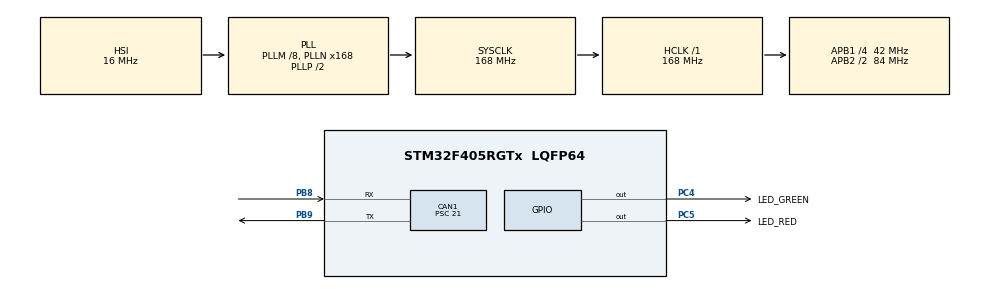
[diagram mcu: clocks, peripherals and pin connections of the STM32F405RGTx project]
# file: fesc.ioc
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CAN1.ABOM=ENABLE
CAN1.BS1=CAN_BS1_13TQ
CAN1.BS2=CAN_BS2_2TQ
CAN1.CalculateBaudRate=125000
CAN1.CalculateTimeBit=8000
CAN1.CalculateTimeQuantum=500.0
CAN1.NART=ENABLE
CAN1.Prescaler=21
FREERTOS.Tasks01=defaultTask,24,256,StartDefaultTask,Default,NULL,Dynamic,NULL,NULL;ledTask,8,128,startLedTask,Default,NULL,Static,ledTaskBuffer,ledTaskControlBlock
FREERTOS.configUSE_NEWLIB_REENTRANT=1
Mcu.Family=STM32F4
Mcu.Name=STM32F405RGTx
Mcu.Package=LQFP64
NVIC.CAN1_RX0_IRQn=true\:5\:0\:false\:false\:true\:true\:true\:true\:true
NVIC.CAN1_RX1_IRQn=true\:5\:0\:false\:false\:true\:true\:true\:true\:true
NVIC.CAN1_SCE_IRQn=true\:5\:0\:false\:false\:true\:true\:true\:true\:true
NVIC.CAN1_TX_IRQn=true\:5\:0\:false\:false\:true\:true\:true\:true\:true
NVIC.PriorityGroup=NVIC_PRIORITYGROUP_4
NVIC.TIM6_DAC_IRQn=true\:5\:0\:false\:false\:true\:true\:true\:true\:true
NVIC.TIM7_IRQn=true\:15\:0\:false\:false\:true\:false\:false\:true\:true
NVIC.TimeBase=TIM7_IRQn
NVIC.TimeBaseIP=TIM7
PA13.Mode=Serial_Wire
PA13.Signal=SYS_JTMS-SWDIO
PA14.Mode=Serial_Wire
PA14.Signal=SYS_JTCK-SWCLK
PB8.Mode=CAN_Activate
PB8.Signal=CAN1_RX
PB9.Mode=CAN_Activate
PB9.Signal=CAN1_TX
PC4.GPIO_Label=LED_GREEN
PC4.Signal=GPIO_Output
PC5.GPIO_Label=LED_RED
PC5.Signal=GPIO_Output
PH0-OSC_IN.Mode=HSE-External-Oscillator
PH0-OSC_IN.Signal=RCC_OSC_IN
PH1-OSC_OUT.Mode=HSE-External-Oscillator
PH1-OSC_OUT.Signal=RCC_OSC_OUT
ProjectManager.HeapSize=0x2000
ProjectManager.StackSize=0x4000
ProjectManager.TargetToolchain=STM32CubeIDE
RCC.48MHZClocksFreq_Value=84000000
RCC.AHBFreq_Value=168000000
RCC.APB1CLKDivider=RCC_HCLK_DIV4
RCC.APB1Freq_Value=42000000
RCC.APB1TimFreq_Value=84000000
RCC.APB2CLKDivider=RCC_HCLK_DIV2
RCC.APB2Freq_Value=84000000
RCC.APB2TimFreq_Value=168000000
RCC.CortexFreq_Value=168000000
RCC.HCLKFreq_Value=168000000
RCC.HSE_VALUE=8000000
RCC.HSI_VALUE=16000000
RCC.LSE_VALUE=32768
RCC.PLLM=8
RCC.PLLN=168
RCC.SYSCLKFreq_VALUE=168000000
RCC.SYSCLKSource=RCC_SYSCLKSOURCE_PLLCLK
RCC.VCOOutputFreq_Value=336000000
TIM6.Period=1000-1
TIM6.Prescaler=84-1
VP_FREERTOS_VS_CMSIS_V2.Mode=CMSIS_V2
VP_SYS_VS_tim7.Mode=TIM7
VP_TIM6_VS_ClockSourceINT.Mode=Enable_Timer
board=custom

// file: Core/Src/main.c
/* USER CODE BEGIN Header */
/**
  ******************************************************************************
  * @file           : main.c
  * @brief          : Main program body
  ******************************************************************************
  * @attention
  *
  * Copyright (c) 2024 STMicroelectronics.
  * All rights reserved.
  *
  * This software is licensed under terms that can be found in the LICENSE file
  * in the root directory of this software component.
  * If no LICENSE file comes with this software, it is provided AS-IS.
  *
  ******************************************************************************
  */
/* USER CODE END Header */
#include "main.h"
#include "cmsis_os.h"
#include "can.h"
#include "tim.h"
#include "gpio.h"

/* USER CODE BEGIN Includes */
#include "CO_app_STM32.h"
// ((()))
#include "301/CO_driver.h"
/* USER CODE END Includes */

void SystemClock_Config(void);
void MX_FREERTOS_Init(void);

int main(void)
{

  /* MCU Configuration--------------------------------------------------------*/

  /* Reset of all peripherals, Initializes the Flash interface and the Systick. */
  HAL_Init();

  /* Configure the system clock */
  SystemClock_Config();

  /* Initialize all configured peripherals */
  MX_GPIO_Init();
  MX_TIM6_Init();
  MX_CAN1_Init();

  /* Init scheduler */
  osKernelInitialize();  /* Call init function for freertos objects (in freertos.c) */
  MX_FREERTOS_Init();

  /* Start scheduler */
  osKernelStart();

  /* We should never get here as control is now taken by the scheduler */
  /* Infinite loop */
  while (1)
  {

  }
}

void SystemClock_Config(void)
{
  RCC_OscInitTypeDef RCC_OscInitStruct = {0};
  RCC_ClkInitTypeDef RCC_ClkInitStruct = {0};

  /** Configure the main internal regulator output voltage
  */
  __HAL_RCC_PWR_CLK_ENABLE();
  __HAL_PWR_VOLTAGESCALING_CONFIG(PWR_REGULATOR_VOLTAGE_SCALE1);

  /** Initializes the RCC Oscillators according to the specified parameters
  * in the RCC_OscInitTypeDef structure.
  */
  RCC_OscInitStruct.OscillatorType = RCC_OSCILLATORTYPE_HSI;
  RCC_OscInitStruct.HSIState = RCC_HSI_ON;
  RCC_OscInitStruct.HSICalibrationValue = RCC_HSICALIBRATION_DEFAULT;
  RCC_OscInitStruct.PLL.PLLState = RCC_PLL_ON;
  RCC_OscInitStruct.PLL.PLLSource = RCC_PLLSOURCE_HSI;
  RCC_OscInitStruct.PLL.PLLM = 8;
  RCC_OscInitStruct.PLL.PLLN = 168;
  RCC_OscInitStruct.PLL.PLLP = RCC_PLLP_DIV2;
  RCC_OscInitStruct.PLL.PLLQ = 4;
  if (HAL_RCC_OscConfig(&RCC_OscInitStruct) != HAL_OK)
  {
    Error_Handler();
  }

  /** Initializes the CPU, AHB and APB buses clocks
  */
  RCC_ClkInitStruct.ClockType = RCC_CLOCKTYPE_HCLK|RCC_CLOCKTYPE_SYSCLK
                              |RCC_CLOCKTYPE_PCLK1|RCC_CLOCKTYPE_PCLK2;
  RCC_ClkInitStruct.SYSCLKSource = RCC_SYSCLKSOURCE_PLLCLK;
  RCC_ClkInitStruct.AHBCLKDivider = RCC_SYSCLK_DIV1;
  RCC_ClkInitStruct.APB1CLKDivider = RCC_HCLK_DIV4;
  RCC_ClkInitStruct.APB2CLKDivider = RCC_HCLK_DIV2;

  if (HAL_RCC_ClockConfig(&RCC_ClkInitStruct, FLASH_LATENCY_5) != HAL_OK)
  {
    Error_Handler();
  }
}

void HAL_TIM_PeriodElapsedCallback(TIM_HandleTypeDef *htim)
{
  if (htim->Instance == TIM7) {
    HAL_IncTick();
  }
  /* USER CODE BEGIN Callback 1 */
  if (htim == canopenNodeSTM32->timerHandle) {
       canopen_app_interrupt();
  }
  /* USER CODE END Callback 1 */
}

void Error_Handler(void)
{
  __disable_irq();
  while (1)
  {
  }
}

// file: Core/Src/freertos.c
/* USER CODE BEGIN Header */
/**
  ******************************************************************************
  * File Name          : freertos.c
  * Description        : Code for freertos applications
  ******************************************************************************
  * @attention
  *
  * Copyright (c) 2024 STMicroelectronics.
  * All rights reserved.
  *
  * This software is licensed under terms that can be found in the LICENSE file
  * in the root directory of this software component.
  * If no LICENSE file comes with this software, it is provided AS-IS.
  *
  ******************************************************************************
  */
/* USER CODE END Header */

#include "FreeRTOS.h"
#include "task.h"
#include "main.h"
#include "cmsis_os.h"

/* USER CODE BEGIN Includes */
#include "CO_app_STM32.h"
#include "tim.h"
#include "can.h"
#include "OD.h"
#include "CO_domain_STM32.h"
#include <math.h>
/* USER CODE END Includes */

typedef StaticTask_t osStaticThreadDef_t;

/* USER CODE BEGIN PD */
extern CAN_HandleTypeDef hcan1;
extern TIM_HandleTypeDef htim6;
/* USER CODE END PD */

/* Definitions for defaultTask */
osThreadId_t defaultTaskHandle;
const osThreadAttr_t defaultTask_attributes = {
  .name = "defaultTask",
  .stack_size = 256 * 4,
  .priority = (osPriority_t) osPriorityNormal,
};
/* Definitions for ledTask */
osThreadId_t ledTaskHandle;
uint32_t ledTaskBuffer[ 128 ];
osStaticThreadDef_t ledTaskControlBlock;
const osThreadAttr_t ledTask_attributes = {
  .name = "ledTask",
  .cb_mem = &ledTaskControlBlock,
  .cb_size = sizeof(ledTaskControlBlock),
  .stack_mem = &ledTaskBuffer[0],
  .stack_size = sizeof(ledTaskBuffer),
  .priority = (osPriority_t) osPriorityLow,
};

void StartDefaultTask(void *argument);
void startLedTask(void *argument);

void MX_FREERTOS_Init(void); /* (MISRA C 2004 rule 8.1) */

void MX_FREERTOS_Init(void) {

  /* Create the thread(s) */
  /* creation of defaultTask */
  defaultTaskHandle = osThreadNew(StartDefaultTask, NULL, &defaultTask_attributes);

  /* creation of ledTask */
  ledTaskHandle = osThreadNew(startLedTask, NULL, &ledTask_attributes);

}

void StartDefaultTask(void *argument)
{
  /* USER CODE BEGIN StartDefaultTask */
  /* Infinite loop */
  CANopenNodeSTM32 canOpenNodeSTM32;
  canOpenNodeSTM32.CANHandle = &hcan1;
  canOpenNodeSTM32.HWInitFunction = MX_CAN1_Init;
  canOpenNodeSTM32.timerHandle = &htim6;
  canOpenNodeSTM32.desiredNodeID = 1;
  canOpenNodeSTM32.baudrate = 125;
  canopen_app_init(&canOpenNodeSTM32);
  // ((()))
  OD_extension_t OD_domain_extension;
  OD_domain_extension.object = NULL;
  OD_domain_extension.read = NULL;
  OD_domain_extension.write = OD_writeDomain;
  OD_extension_init(OD_ENTRY_H3002, &OD_domain_extension);
  for(;;)
  {
    HAL_GPIO_WritePin(LED_RED_GPIO_Port, LED_RED_Pin, !canOpenNodeSTM32.outStatusLEDRed);
    HAL_GPIO_WritePin(LED_GREEN_GPIO_Port, LED_GREEN_Pin, !canOpenNodeSTM32.outStatusLEDGreen);
    canopen_app_process();
	vTaskDelay(pdMS_TO_TICKS(1));
  }
  /* USER CODE END StartDefaultTask */
}

void startLedTask(void *argument)
{
  /* USER CODE BEGIN startLedTask */
  float freq = 1.0;
  float time = 0.0;
  float sine = 0.0;
  const float pi = 3.14159265;
  /* Infinite loop */
  for(;;)
  {
    freq = 1.0;
    sine = sin(2 * pi * freq * time);
    OD_TEST.x3001_testSignals.sin1Hz = sine;

    freq = 5.0;
    sine = sin(2 * pi * freq * time);
    OD_TEST.x3001_testSignals.sin5Hz = sine;

    freq = 10.0;
    sine = sin(2 * pi * freq * time);
    OD_TEST.x3001_testSignals.sin10Hz = sine;

    freq = 50.0;
    sine = sin(2 * pi * freq * time);
    OD_TEST.x3001_testSignals.sin50Hz = sine;

    freq = 100.0;
    sine = sin(2 * pi * freq * time);
    OD_TEST.x3001_testSignals.sin100Hz = sine;

    time += 1.0 / 1000.0;
    osDelay(1);
  }
  /* USER CODE END startLedTask */
}
